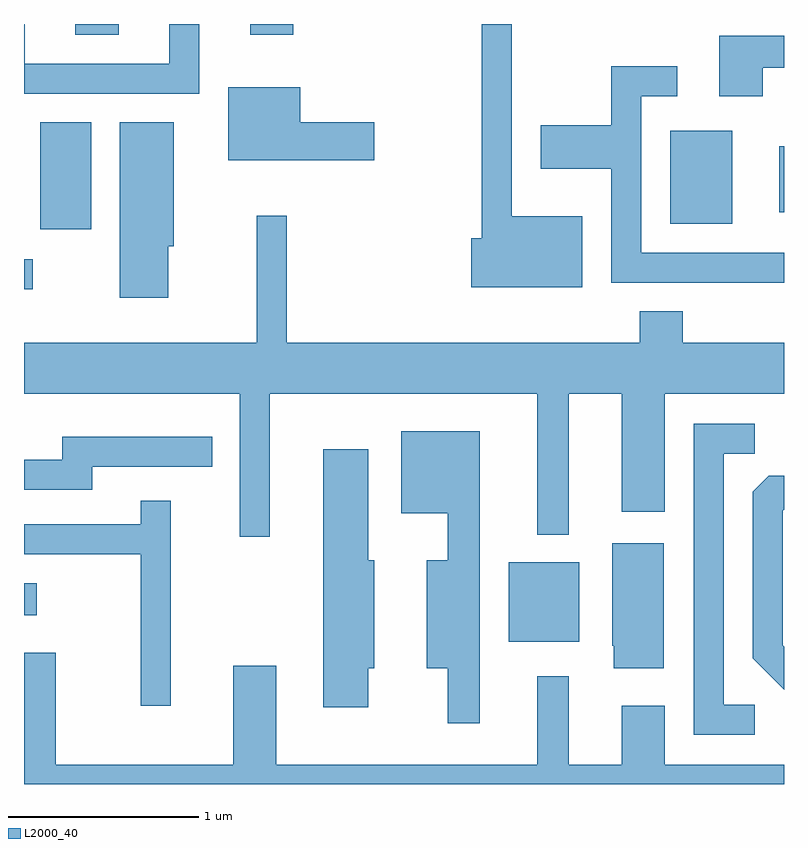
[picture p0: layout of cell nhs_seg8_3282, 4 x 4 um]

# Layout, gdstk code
import gdstk
lib = gdstk.Library(unit=1e-6, precision=1e-09)
def R(c, l, rs):  # rectangles x0, y0, x1, y1
    for r in rs: c.add(gdstk.rectangle(r[:2], r[2:], *l))
def P(c, l, *ps):  # polygons
    for p in ps: c.add(gdstk.Polygon(p, *l))
L2000_40 = (2000, 40)

nhs_seg8_3282 = lib.new_cell('nhs_seg8_3282')
R(nhs_seg8_3282, L2000_40, [(286.161,1855.091,286.534,1855.509), (283.611,1855.231,283.678,1855.399), (283.611,1856.946,283.658,1857.104), (283.696,1857.261,283.964,1857.824), (287.011,1857.291,287.339,1857.779), (287.586,1857.351,287.611,1857.698), (283.881,1858.286,284.109,1858.342), (284.801,1858.286,285.029,1858.342)])
P(nhs_seg8_3282, L2000_40, [(284.534,1858.342),(284.376,1858.342),(284.376,1858.134),(283.614,1858.134),(283.614,1858.342),(283.611,1858.342),(283.611,1857.976),(284.534,1857.976)],
  [(286.549,1857.329),(286.179,1857.329),(286.179,1858.342),(286.021,1858.342),(286.021,1857.214),(285.966,1857.214),(285.966,1856.956),(286.549,1856.956)],
  [(287.499,1858.111),(287.611,1858.111),(287.611,1858.279),(287.271,1858.279),(287.271,1857.961),(287.499,1857.961)],
  [(287.611,1857.139),(286.859,1857.139),(286.859,1857.961),(287.048,1857.961),(287.048,1858.119),(286.701,1858.119),(286.701,1857.809),(286.331,1857.809),(286.331,1857.581),(286.701,1857.581),(286.701,1856.981),(287.611,1856.981)],
  [(285.454,1857.824),(285.064,1857.824),(285.064,1858.009),(284.686,1858.009),(284.686,1857.626),(285.454,1857.626)],
  [(284.369,1857.171),(284.399,1857.171),(284.399,1857.824),(284.116,1857.824),(284.116,1856.901),(284.369,1856.901)],
  [(284.904,1856.396),(286.311,1856.396),(286.311,1855.653),(286.479,1855.653),(286.479,1856.396),(286.756,1856.396),(286.756,1855.776),(286.984,1855.776),(286.984,1856.396),(287.611,1856.396),(287.611,1856.664),(287.079,1856.664),(287.079,1856.829),(286.851,1856.829),(286.851,1856.664),(284.994,1856.664),(284.994,1857.333),(284.836,1857.333),(284.836,1856.664),(283.611,1856.664),(283.611,1856.396),(284.746,1856.396),(284.746,1855.643),(284.904,1855.643)],
  [(287.458,1854.759),(287.294,1854.759),(287.294,1856.081),(287.458,1856.081),(287.458,1856.239),(287.136,1856.239),(287.136,1854.601),(287.458,1854.601)],
  [(286.009,1856.199),(285.596,1856.199),(285.596,1855.766),(285.841,1855.766),(285.841,1855.519),(285.731,1855.519),(285.731,1854.951),(285.841,1854.951),(285.841,1854.663),(286.009,1854.663)],
  [(283.969,1856.011),(284.603,1856.011),(284.603,1856.169),(283.811,1856.169),(283.811,1856.049),(283.611,1856.049),(283.611,1855.891),(283.969,1855.891)],
  [(285.424,1854.951),(285.454,1854.951),(285.454,1855.519),(285.424,1855.519),(285.424,1856.104),(285.186,1856.104),(285.186,1854.746),(285.424,1854.746)],
  [(287.611,1855.065),(287.604,1855.072),(287.604,1855.779),(287.611,1855.786),(287.611,1855.964),(287.532,1855.964),(287.446,1855.879),(287.446,1855.004),(287.611,1854.839)],
  [(284.384,1855.833),(284.226,1855.833),(284.226,1855.709),(283.611,1855.709),(283.611,1855.551),(284.226,1855.551),(284.226,1854.753),(284.384,1854.753)],
  [(286.979,1855.609),(286.706,1855.609),(286.706,1855.07),(286.716,1855.07),(286.716,1854.951),(286.979,1854.951)],
  [(287.611,1854.444),(286.984,1854.444),(286.984,1854.754),(286.756,1854.754),(286.756,1854.444),(286.479,1854.444),(286.479,1854.908),(286.311,1854.908),(286.311,1854.444),(284.939,1854.444),(284.939,1854.964),(284.711,1854.964),(284.711,1854.444),(283.779,1854.444),(283.779,1855.034),(283.611,1855.034),(283.611,1854.342),(287.611,1854.342)])

lib.write_gds('nhs_seg8_3282.gds')
